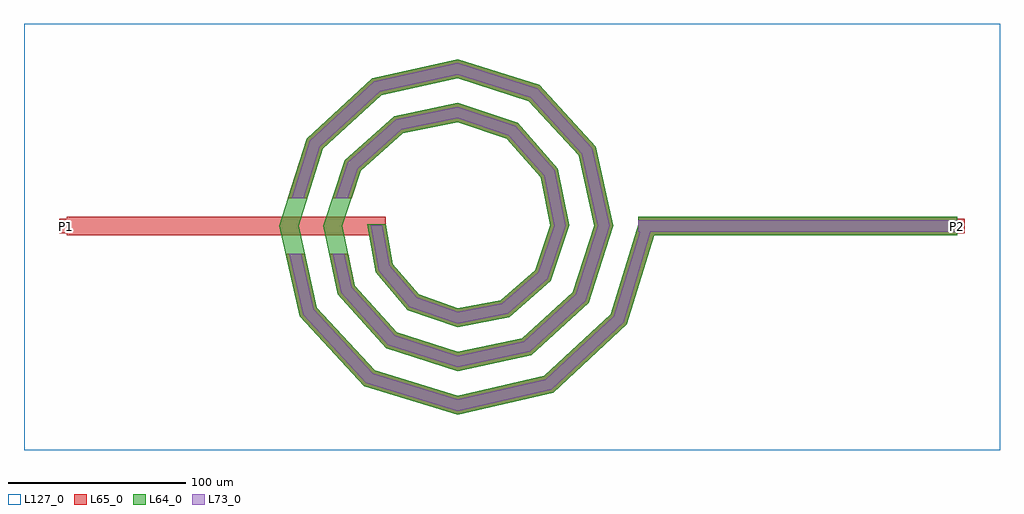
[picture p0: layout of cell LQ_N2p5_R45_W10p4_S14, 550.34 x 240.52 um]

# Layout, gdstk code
import gdstk
lib = gdstk.Library(unit=1e-6, precision=1e-09)
def R(c, l, rs):  # rectangles x0, y0, x1, y1
    for r in rs: c.add(gdstk.rectangle(r[:2], r[2:], *l))
def P(c, l, *ps):  # polygons
    for p in ps: c.add(gdstk.Polygon(p, *l))
L64_0 = (64, 0)
L65_0 = (65, 0)
L73_0 = (73, 0)
L127_0 = (127, 0)

lq_n2p5_r45_w10p4_s14 = lib.new_cell('LQ_N2p5_R45_W10p4_S14')
R(lq_n2p5_r45_w10p4_s14, L64_0, [(102.021,-5.2,282.021,5.2)])
P(lq_n2p5_r45_w10p4_s14, L64_0, [(-36.335,-21.478),(-21.771,-38.54),(0.399,-46.318),(24.519,-41.701),(43.858,-24.894),(52.485,0.357),(47.062,27.569),(28.01,49.181),(0.322,58.654),(-30.625,52.42),(-54.509,31.121),(-64.823,0.294),(-57.776,-33.687),(-34.227,-59.839),(0.27,-70.992),(36.752,-63.13),(65.171,-37.33),(77.161,0.25),(68.482,39.82),(40.431,70.505),(0.233,83.331),(-42.891,73.834),(-75.84,43.529),(-89.5,0.218),(-79.184,-45.963),(-46.626,-81.176),(0.204,-95.67),(49.037,-84.534),(86.513,-49.722),(102.25,1.526),(112.191,-1.526),(95.636,-55.442),(54.07,-94.053),(0.204,-106.43),(-52.367,-90.286),(-88.715,-50.974),(-100.26,0.218),(-84.935,49.294),(-47.876,83.378),(0.233,94.089),(46.222,79.583),(78.043,44.776),(87.918,0.25),(74.23,-43.153),(41.674,-72.708),(0.27,-81.747),(-40.086,-68.875),(-67.375,-38.569),(-75.576,0.294),(-63.517,37.022),(-35.46,62.043),(0.322,69.404),(33.962,58.157),(56.714,32.346),(63.232,0.357),(52.794,-30.907),(29.226,-51.389),(0.399,-57.059),(-27.86,-47.425),(-46.067,-26.096),(-50.635,0.929),(-40.402,0.929)])
R(lq_n2p5_r45_w10p4_s14, L65_0, [(-220.318,-5.2,-40.318,5.2), (102.021,-5.2,282.021,5.2), (-224.318,-4,-216.318,4), (278.021,-4,286.021,4)])
P(lq_n2p5_r45_w10p4_s14, L65_0, [(-79.184,-45.963),(-46.626,-81.176),(0.204,-95.67),(49.037,-84.534),(86.513,-49.722),(102.25,1.526),(112.191,-1.526),(95.636,-55.442),(54.07,-94.053),(0.204,-106.43),(-52.367,-90.286),(-88.715,-50.974),(-96.693,-15.6),(-86.031,-15.6)],
  [(-57.776,-33.687),(-34.227,-59.839),(0.27,-70.992),(36.752,-63.13),(65.171,-37.33),(77.161,0.25),(68.482,39.82),(40.431,70.505),(0.233,83.331),(-42.891,73.834),(-75.84,43.529),(-84.561,15.6),(-95.456,15.6),(-84.935,49.294),(-47.876,83.379),(0.233,94.089),(46.222,79.583),(78.043,44.776),(87.918,0.25),(74.23,-43.153),(41.674,-72.708),(0.27,-81.747),(-40.086,-68.875),(-67.375,-38.569),(-72.222,-15.6),(-61.593,-15.6)],
  [(-21.771,-38.54),(0.399,-46.318),(24.519,-41.701),(43.858,-24.895),(52.485,0.357),(47.062,27.569),(28.01,49.181),(0.322,58.654),(-30.625,52.42),(-54.509,31.121),(-59.604,15.6),(-70.55,15.6),(-63.517,37.022),(-35.46,62.043),(0.322,69.404),(33.962,58.158),(56.714,32.347),(63.232,0.357),(52.794,-30.907),(29.226,-51.389),(0.399,-57.059),(-27.86,-47.425),(-46.067,-26.096),(-50.635,0.929),(-40.402,0.929),(-36.335,-21.478)])
R(lq_n2p5_r45_w10p4_s14, L73_0, [(102.021,-3.2,282.021,3.2)])
P(lq_n2p5_r45_w10p4_s14, L73_0, [(-81.017,-46.927),(-47.73,-82.928),(0.126,-97.739),(50.005,-86.364),(88.268,-50.822),(104.161,0.939),(110.28,0.939),(93.881,-54.342),(53.102,-92.222),(0.126,-104.361),(-51.263,-88.534),(-86.882,-50.01),(-94.642,-15.6),(-88.082,-15.6)],
  [(-59.622,-34.626),(-35.354,-61.576),(0.166,-73.06),(37.699,-64.972),(66.913,-38.45),(79.23,0.154),(70.321,40.773),(41.545,72.25),(0.143,85.4),(-43.849,75.669),(-77.589,44.638),(-86.656,15.6),(-93.361,15.6),(-83.186,48.185),(-46.917,81.543),(0.143,92.02),(45.109,77.837),(76.204,43.823),(85.849,0.154),(72.488,-42.033),(40.728,-70.866),(0.166,-79.679),(-38.959,-67.137),(-65.529,-37.63),(-70.178,-15.6),(-63.637,-15.6)],
  [(-22.942,-40.248),(0.246,-48.383),(25.424,-43.564),(45.576,-26.051),(54.552,0.219),(48.918,28.488),(29.155,50.908),(0.198,60.721),(-31.555,54.271),(-56.241,32.256),(-61.709,15.6),(-68.445,15.6),(-61.785,35.887),(-34.53,60.193),(0.198,67.337),(32.817,56.431),(54.858,31.428),(61.165,0.219),(51.075,-29.751),(28.321,-49.526),(0.246,-54.993),(-26.689,-45.716),(-44.195,-25.208),(-48.667,0.571),(-42.37,0.571),(-38.207,-22.367)])
R(lq_n2p5_r45_w10p4_s14, L127_0, [(-244.318,-126.43,306.021,114.089)])
lq_n2p5_r45_w10p4_s14.add(gdstk.Label('P2', (282.021,0), layer=65, texttype=0))
lq_n2p5_r45_w10p4_s14.add(gdstk.Label('P1', (-220.318,0), layer=65, texttype=0))
lq_n2p5_r45_w10p4_s14.add(gdstk.Label('P2', (286.021,0), layer=145, texttype=0))
lq_n2p5_r45_w10p4_s14.add(gdstk.Label('P1', (-224.318,0), layer=145, texttype=0))

lib.write_gds('LQ_N2p5_R45_W10p4_S14.gds')
